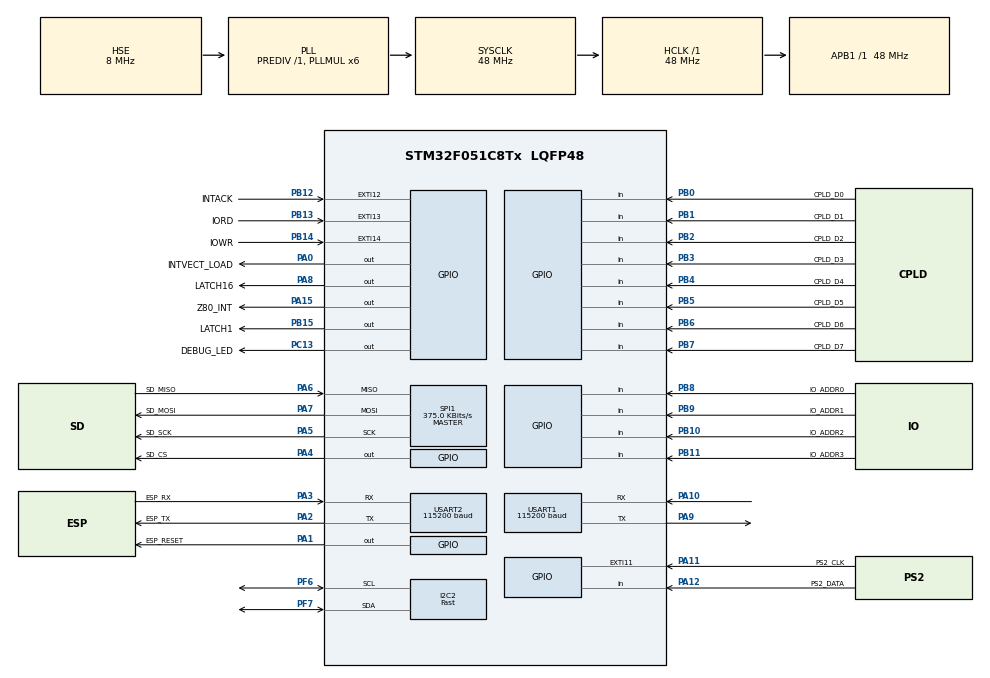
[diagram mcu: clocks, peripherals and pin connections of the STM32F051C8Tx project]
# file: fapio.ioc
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FATFS._CODE_PAGE=1
I2C2.I2C_Speed_Mode=I2C_Fast
I2C2.Timing=0x2010091A
Mcu.Family=STM32F0
Mcu.Name=STM32F051C8Tx
Mcu.Package=LQFP48
NVIC.EXTI4_15_IRQn=true\:0\:0\:false\:false\:true
NVIC.USART1_IRQn=true\:1\:0\:true\:false\:true
NVIC.USART2_IRQn=true\:2\:0\:true\:false\:true
PA0.GPIO_Label=INTVECT_LOAD
PA0.GPIO_ModeDefaultOutputPP=GPIO_MODE_OUTPUT_OD
PA0.PinState=GPIO_PIN_SET
PA0.Signal=GPIO_Output
PA1.GPIO_Label=ESP_RESET
PA1.GPIO_ModeDefaultOutputPP=GPIO_MODE_OUTPUT_OD
PA1.PinState=GPIO_PIN_SET
PA1.Signal=GPIO_Output
PA10.Mode=Asynchronous
PA10.Signal=USART1_RX
PA11.GPIO_Label=PS2_CLK
PA11.GPIO_ModeDefaultEXTI=GPIO_MODE_IT_FALLING
PA11.Signal=GPXTI11
PA12.GPIO_Label=PS2_DATA
PA12.Signal=GPIO_Input
PA13.Mode=Serial_Wire
PA13.Signal=SYS_SWDIO
PA14.Mode=Serial_Wire
PA14.Signal=SYS_SWCLK
PA15.GPIO_Label=Z80_INT
PA15.GPIO_PuPd=GPIO_NOPULL
PA15.PinState=GPIO_PIN_SET
PA15.Signal=GPIO_Output
PA2.GPIO_Label=ESP_TX
PA2.Mode=Asynchronous
PA2.Signal=USART2_TX
PA3.GPIO_Label=ESP_RX
PA3.Mode=Asynchronous
PA3.Signal=USART2_RX
PA4.GPIO_Label=SD_CS
PA4.GPIO_ModeDefaultOutputPP=GPIO_MODE_OUTPUT_OD
PA4.GPIO_PuPd=GPIO_NOPULL
PA4.PinState=GPIO_PIN_SET
PA4.Signal=GPIO_Output
PA5.GPIO_Label=SD_SCK
PA5.Mode=Full_Duplex_Master
PA5.Signal=SPI1_SCK
PA6.GPIO_Label=SD_MISO
PA6.Mode=Full_Duplex_Master
PA6.Signal=SPI1_MISO
PA7.GPIO_Label=SD_MOSI
PA7.Mode=Full_Duplex_Master
PA7.Signal=SPI1_MOSI
PA8.GPIO_Label=LATCH16
PA8.GPIO_ModeDefaultOutputPP=GPIO_MODE_OUTPUT_OD
PA8.PinState=GPIO_PIN_SET
PA8.Signal=GPIO_Output
PA9.Mode=Asynchronous
PA9.Signal=USART1_TX
PB0.GPIO_Label=CPLD_D0
PB0.Signal=GPIO_Input
PB1.GPIO_Label=CPLD_D1
PB1.Signal=GPIO_Input
PB10.GPIO_Label=IO_ADDR2
PB10.Signal=GPIO_Input
PB11.GPIO_Label=IO_ADDR3
PB11.Signal=GPIO_Input
PB12.GPIO_Label=INTACK
PB12.GPIO_ModeDefaultEXTI=GPIO_MODE_IT_FALLING
PB12.Signal=GPXTI12
PB13.GPIO_Label=IORD
PB13.GPIO_ModeDefaultEXTI=GPIO_MODE_IT_FALLING
PB13.Signal=GPXTI13
PB14.GPIO_Label=IOWR
PB14.GPIO_ModeDefaultEXTI=GPIO_MODE_IT_FALLING
PB14.Signal=GPXTI14
PB15.GPIO_Label=LATCH1
PB15.GPIO_ModeDefaultOutputPP=GPIO_MODE_OUTPUT_OD
PB15.PinState=GPIO_PIN_SET
PB15.Signal=GPIO_Output
PB2.GPIO_Label=CPLD_D2
PB2.Signal=GPIO_Input
PB3.GPIO_Label=CPLD_D3
PB3.Signal=GPIO_Input
PB4.GPIO_Label=CPLD_D4
PB4.Signal=GPIO_Input
PB5.GPIO_Label=CPLD_D5
PB5.Signal=GPIO_Input
PB6.GPIO_Label=CPLD_D6
PB6.Signal=GPIO_Input
PB7.GPIO_Label=CPLD_D7
PB7.Signal=GPIO_Input
PB8.GPIO_Label=IO_ADDR0
PB8.Signal=GPIO_Input
PB9.GPIO_Label=IO_ADDR1
PB9.Signal=GPIO_Input
PC13.GPIO_Label=DEBUG_LED
PC13.Signal=GPIO_Output
PC14-OSC32_IN.Mode=LSE-External-Oscillator
PC14-OSC32_IN.Signal=RCC_OSC32_IN
PC15-OSC32_OUT.Mode=LSE-External-Oscillator
PC15-OSC32_OUT.Signal=RCC_OSC32_OUT
PF0-OSC_IN.Mode=HSE-External-Oscillator
PF0-OSC_IN.Signal=RCC_OSC_IN
PF1-OSC_OUT.Mode=HSE-External-Oscillator
PF1-OSC_OUT.Signal=RCC_OSC_OUT
PF6.Mode=I2C
PF6.Signal=I2C2_SCL
PF7.Mode=I2C
PF7.Signal=I2C2_SDA
ProjectManager.HeapSize=0x200
ProjectManager.StackSize=0x400
ProjectManager.TargetToolchain=MDK-ARM V5
RCC.AHBFreq_Value=48000000
RCC.APB1Freq_Value=48000000
RCC.APB1TimFreq_Value=48000000
RCC.HCLKFreq_Value=48000000
RCC.HSIState=RCC_HSI_ON
RCC.PLLMUL=RCC_PLL_MUL6
RCC.PLLSourceVirtual=RCC_PLLSOURCE_HSE
RCC.RTCClockSelection=RCC_RTCCLKSOURCE_LSE
RCC.SYSCLKFreq_VALUE=48000000
RCC.SYSCLKSource=RCC_SYSCLKSOURCE_PLLCLK
RTC.Date=6
RTC.Format=RTC_FORMAT_BIN
RTC.Hours=11
RTC.Minutes=40
RTC.Month=RTC_MONTH_DECEMBER
RTC.WeekDay=RTC_WEEKDAY_TUESDAY
RTC.Year=16
SPI1.BaudRatePrescaler=SPI_BAUDRATEPRESCALER_128
SPI1.CalculateBaudRate=375.0 KBits/s
SPI1.DataSize=SPI_DATASIZE_8BIT
SPI1.Mode=SPI_MODE_MASTER
TIM2.Period=4294967295
TIM2.Prescaler=47
USART1.BaudRate=115200
USART2.BaudRate=115200
USART2.SwapParam=UART_ADVFEATURE_SWAP_DISABLE
VP_FATFS_VS_Generic.Mode=User_defined
VP_RTC_VS_RTC_Activate.Mode=RTC_Enabled
VP_RTC_VS_RTC_Calendar.Mode=RTC_Calendar
VP_TIM2_VS_ClockSourceINT.Mode=Internal
board=fapio

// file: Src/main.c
/**
  ******************************************************************************
  * File Name          : main.c
  * Description        : Main program body
  ******************************************************************************
  *
  * Copyright (c) 2017 STMicroelectronics International N.V.
  * All rights reserved.
  *
  * Redistribution and use in source and binary forms, with or without
  * modification, are permitted, provided that the following conditions are met:
  *
  * 1. Redistribution of source code must retain the above copyright notice,
  *    this list of conditions and the following disclaimer.
  * 2. Redistributions in binary form must reproduce the above copyright notice,
  *    this list of conditions and the following disclaimer in the documentation
  *    and/or other materials provided with the distribution.
  * 3. Neither the name of STMicroelectronics nor the names of other
  *    contributors to this software may be used to endorse or promote products
  *    derived from this software without specific written permission.
  * 4. This software, including modifications and/or derivative works of this
  *    software, must execute solely and exclusively on microcontroller or
  *    microprocessor devices manufactured by or for STMicroelectronics.
  * 5. Redistribution and use of this software other than as permitted under
  *    this license is void and will automatically terminate your rights under
  *    this license.
  *
  * THIS SOFTWARE IS PROVIDED BY STMICROELECTRONICS AND CONTRIBUTORS "AS IS"
  * AND ANY EXPRESS, IMPLIED OR STATUTORY WARRANTIES, INCLUDING, BUT NOT
  * LIMITED TO, THE IMPLIED WARRANTIES OF MERCHANTABILITY, FITNESS FOR A
  * PARTICULAR PURPOSE AND NON-INFRINGEMENT OF THIRD PARTY INTELLECTUAL PROPERTY
  * RIGHTS ARE DISCLAIMED TO THE FULLEST EXTENT PERMITTED BY LAW. IN NO EVENT
  * SHALL STMICROELECTRONICS OR CONTRIBUTORS BE LIABLE FOR ANY DIRECT, INDIRECT,
  * INCIDENTAL, SPECIAL, EXEMPLARY, OR CONSEQUENTIAL DAMAGES (INCLUDING, BUT NOT
  * LIMITED TO, PROCUREMENT OF SUBSTITUTE GOODS OR SERVICES; LOSS OF USE, DATA,
  * OR PROFITS; OR BUSINESS INTERRUPTION) HOWEVER CAUSED AND ON ANY THEORY OF
  * LIABILITY, WHETHER IN CONTRACT, STRICT LIABILITY, OR TORT (INCLUDING
  * NEGLIGENCE OR OTHERWISE) ARISING IN ANY WAY OUT OF THE USE OF THIS SOFTWARE,
  * EVEN IF ADVISED OF THE POSSIBILITY OF SUCH DAMAGE.
  *
  ******************************************************************************
  */
#include "main.h"
#include "stm32f0xx_hal.h"
#include "fatfs.h"

/* USER CODE BEGIN Includes */
#include <stdio.h>
#include <string.h>
#include <stdlib.h>
#include "delay_us.h"
#include "shared.h"
#include "eeprom.h"
#include "user_diskio.h"
#include "sd_util.h"
#include "helpers.h"
#include "ps2kb.h"

/* USER CODE END Includes */

I2C_HandleTypeDef hi2c2;

RTC_HandleTypeDef hrtc;

SPI_HandleTypeDef hspi1;

TIM_HandleTypeDef htim2;

UART_HandleTypeDef huart1;
UART_HandleTypeDef huart2;

/* USER CODE BEGIN PV */
/* Private variables ---------------------------------------------------------*/
FRESULT sd_fresult;
FATFS sd_fs;
FIL sd_file;

uint8_t debug_byte_buf[1];
uint8_t esp_byte_buf[1];
linear_buf debug_lb;
linear_buf esp_lb;
linear_buf z80_kbout_lb;

uint8_t esp_temp_buf[LB_SIZE];

volatile uint8_t vport_reg[16];
volatile int32_t vport_data;
volatile int32_t vport_addr;
volatile int32_t vport_raw;
/* USER CODE END PV */

void SystemClock_Config(void);
void Error_Handler(void);
static void MX_GPIO_Init(void);
static void MX_I2C2_Init(void);
static void MX_RTC_Init(void);
static void MX_SPI1_Init(void);
static void MX_USART1_UART_Init(void);
static void MX_USART2_UART_Init(void);
static void MX_TIM2_Init(void);

/* USER CODE BEGIN PFP */
/* Private function prototypes -----------------------------------------------*/

/* USER CODE END PFP */

/* USER CODE BEGIN 0 */
int fputc(int ch, FILE *f)
{
    HAL_UART_Transmit(&huart1, (unsigned char *)&ch, 1, 100);
    return ch;
}
/* USER CODE END 0 */

int main(void)
{

  /* MCU Configuration----------------------------------------------------------*/

  /* Reset of all peripherals, Initializes the Flash interface and the Systick. */
  HAL_Init();

  /* Configure the system clock */
  SystemClock_Config();

  /* Initialize all configured peripherals */
  MX_GPIO_Init();
  MX_I2C2_Init();
  MX_RTC_Init();
  MX_SPI1_Init();
  MX_USART1_UART_Init();
  MX_USART2_UART_Init();
  MX_FATFS_Init();
  MX_TIM2_Init();

  /* USER CODE BEGIN 2 */
  printf("\nmounting SD card...\n");
  int32_t mount_result = f_mount(&sd_fs, "", 1);
  printf("result: %d\n", mount_result);

  linear_buf_reset(&debug_lb);
  linear_buf_reset(&esp_lb);
  linear_buf_reset(&z80_kbout_lb);

  delay_us_init(&htim2);
  ps2_init();

  latch1_deactivate();
  latch16_deactivate();
  interrupt_deactivate();
  vect_load_deactivate();

  data_input();
  addr_input();

  HAL_GPIO_WritePin(ESP_RESET_GPIO_Port, ESP_RESET_Pin, LOW);
  HAL_Delay(100);
  HAL_GPIO_WritePin(ESP_RESET_GPIO_Port, ESP_RESET_Pin, HIGH);

  for (uint8_t i = 0; i < 16; ++i)
    preload16(i, 0);
  /* USER CODE END 2 */

  /* Infinite loop */
  while (1)
  {

  /* USER CODE BEGIN 3 */
    HAL_UART_Receive_IT(&huart1, debug_byte_buf, 1);
    HAL_UART_Receive_IT(&huart2, esp_byte_buf, 1);
    if(linear_buf_idle(&debug_lb))
    {
    	printf("debug_lb: %s\n", debug_lb.buf);
    	linear_buf_reset(&debug_lb);
    }

    if(linear_buf_idle(&esp_lb))
    {
    	// free up the main buffer for more incoming data
    	int32_t this_index = esp_lb.curr_index;
    	memset(esp_temp_buf, 0, LB_SIZE);
      strcpy(esp_temp_buf, esp_lb.buf);
      linear_buf_reset(&esp_lb);

      for (int i = 0; i < this_index; ++i)
      {
      	while(vport_reg[0])
      		;
      	delay_us(100);
	      preload16(2, esp_temp_buf[i]);
	      interrupt_activate(0x84);
      }
    }

    if(linear_buf_idle(&z80_kbout_lb))
    {
    	printf("z80kb: %s\n", z80_kbout_lb.buf);
    	HAL_UART_Transmit(&huart2, z80_kbout_lb.buf, z80_kbout_lb.curr_index, 100);
      linear_buf_reset(&z80_kbout_lb);
    }

    int32_t ps2_char = ps2_get_char();
    if(ps2_char != -1)
    {
      preload16(1, (uint8_t)ps2_char);
      interrupt_activate(0x82);
    }
  }
  /* USER CODE END 3 */

}

/** System Clock Configuration
*/
void SystemClock_Config(void)
{

  RCC_OscInitTypeDef RCC_OscInitStruct;
  RCC_ClkInitTypeDef RCC_ClkInitStruct;
  RCC_PeriphCLKInitTypeDef PeriphClkInit;

    /**Initializes the CPU, AHB and APB busses clocks
    */
  RCC_OscInitStruct.OscillatorType = RCC_OSCILLATORTYPE_HSE|RCC_OSCILLATORTYPE_LSE;
  RCC_OscInitStruct.HSEState = RCC_HSE_ON;
  RCC_OscInitStruct.LSEState = RCC_LSE_ON;
  RCC_OscInitStruct.HSIState = RCC_HSI_ON;
  RCC_OscInitStruct.PLL.PLLState = RCC_PLL_ON;
  RCC_OscInitStruct.PLL.PLLSource = RCC_PLLSOURCE_HSE;
  RCC_OscInitStruct.PLL.PLLMUL = RCC_PLL_MUL6;
  RCC_OscInitStruct.PLL.PREDIV = RCC_PREDIV_DIV1;
  if (HAL_RCC_OscConfig(&RCC_OscInitStruct) != HAL_OK)
  {
    Error_Handler();
  }

    /**Initializes the CPU, AHB and APB busses clocks
    */
  RCC_ClkInitStruct.ClockType = RCC_CLOCKTYPE_HCLK|RCC_CLOCKTYPE_SYSCLK
                              |RCC_CLOCKTYPE_PCLK1;
  RCC_ClkInitStruct.SYSCLKSource = RCC_SYSCLKSOURCE_PLLCLK;
  RCC_ClkInitStruct.AHBCLKDivider = RCC_SYSCLK_DIV1;
  RCC_ClkInitStruct.APB1CLKDivider = RCC_HCLK_DIV1;

  if (HAL_RCC_ClockConfig(&RCC_ClkInitStruct, FLASH_LATENCY_1) != HAL_OK)
  {
    Error_Handler();
  }

  PeriphClkInit.PeriphClockSelection = RCC_PERIPHCLK_USART1|RCC_PERIPHCLK_RTC;
  PeriphClkInit.Usart1ClockSelection = RCC_USART1CLKSOURCE_PCLK1;
  PeriphClkInit.RTCClockSelection = RCC_RTCCLKSOURCE_LSE;
  if (HAL_RCCEx_PeriphCLKConfig(&PeriphClkInit) != HAL_OK)
  {
    Error_Handler();
  }

    /**Configure the Systick interrupt time
    */
  HAL_SYSTICK_Config(HAL_RCC_GetHCLKFreq()/1000);

    /**Configure the Systick
    */
  HAL_SYSTICK_CLKSourceConfig(SYSTICK_CLKSOURCE_HCLK);

  /* SysTick_IRQn interrupt configuration */
  HAL_NVIC_SetPriority(SysTick_IRQn, 0, 0);
}

/* I2C2 init function */
static void MX_I2C2_Init(void)
{

  hi2c2.Instance = I2C2;
  hi2c2.Init.Timing = 0x2010091A;
  hi2c2.Init.OwnAddress1 = 0;
  hi2c2.Init.AddressingMode = I2C_ADDRESSINGMODE_7BIT;
  hi2c2.Init.DualAddressMode = I2C_DUALADDRESS_DISABLE;
  hi2c2.Init.OwnAddress2 = 0;
  hi2c2.Init.OwnAddress2Masks = I2C_OA2_NOMASK;
  hi2c2.Init.GeneralCallMode = I2C_GENERALCALL_DISABLE;
  hi2c2.Init.NoStretchMode = I2C_NOSTRETCH_DISABLE;
  if (HAL_I2C_Init(&hi2c2) != HAL_OK)
  {
    Error_Handler();
  }

    /**Configure Analogue filter
    */
  if (HAL_I2CEx_ConfigAnalogFilter(&hi2c2, I2C_ANALOGFILTER_ENABLE) != HAL_OK)
  {
    Error_Handler();
  }

}

/* RTC init function */
static void MX_RTC_Init(void)
{

  RTC_TimeTypeDef sTime;
  RTC_DateTypeDef sDate;

    /**Initialize RTC Only
    */
  hrtc.Instance = RTC;
  hrtc.Init.HourFormat = RTC_HOURFORMAT_24;
  hrtc.Init.AsynchPrediv = 127;
  hrtc.Init.SynchPrediv = 255;
  hrtc.Init.OutPut = RTC_OUTPUT_DISABLE;
  hrtc.Init.OutPutPolarity = RTC_OUTPUT_POLARITY_HIGH;
  hrtc.Init.OutPutType = RTC_OUTPUT_TYPE_OPENDRAIN;
  if (HAL_RTC_Init(&hrtc) != HAL_OK)
  {
    Error_Handler();
  }

    /**Initialize RTC and set the Time and Date
    */
  sTime.Hours = 11;
  sTime.Minutes = 40;
  sTime.Seconds = 0;
  sTime.DayLightSaving = RTC_DAYLIGHTSAVING_NONE;
  sTime.StoreOperation = RTC_STOREOPERATION_RESET;
  if (HAL_RTC_SetTime(&hrtc, &sTime, RTC_FORMAT_BIN) != HAL_OK)
  {
    Error_Handler();
  }

  sDate.WeekDay = RTC_WEEKDAY_TUESDAY;
  sDate.Month = RTC_MONTH_DECEMBER;
  sDate.Date = 6;
  sDate.Year = 16;

  if (HAL_RTC_SetDate(&hrtc, &sDate, RTC_FORMAT_BIN) != HAL_OK)
  {
    Error_Handler();
  }

}

/* SPI1 init function */
static void MX_SPI1_Init(void)
{

  hspi1.Instance = SPI1;
  hspi1.Init.Mode = SPI_MODE_MASTER;
  hspi1.Init.Direction = SPI_DIRECTION_2LINES;
  hspi1.Init.DataSize = SPI_DATASIZE_8BIT;
  hspi1.Init.CLKPolarity = SPI_POLARITY_LOW;
  hspi1.Init.CLKPhase = SPI_PHASE_1EDGE;
  hspi1.Init.NSS = SPI_NSS_SOFT;
  hspi1.Init.BaudRatePrescaler = SPI_BAUDRATEPRESCALER_128;
  hspi1.Init.FirstBit = SPI_FIRSTBIT_MSB;
  hspi1.Init.TIMode = SPI_TIMODE_DISABLE;
  hspi1.Init.CRCCalculation = SPI_CRCCALCULATION_DISABLE;
  hspi1.Init.CRCPolynomial = 7;
  hspi1.Init.CRCLength = SPI_CRC_LENGTH_DATASIZE;
  hspi1.Init.NSSPMode = SPI_NSS_PULSE_ENABLE;
  if (HAL_SPI_Init(&hspi1) != HAL_OK)
  {
    Error_Handler();
  }

}

/* TIM2 init function */
static void MX_TIM2_Init(void)
{

  TIM_ClockConfigTypeDef sClockSourceConfig;
  TIM_MasterConfigTypeDef sMasterConfig;

  htim2.Instance = TIM2;
  htim2.Init.Prescaler = 47;
  htim2.Init.CounterMode = TIM_COUNTERMODE_UP;
  htim2.Init.Period = 4294967295;
  htim2.Init.ClockDivision = TIM_CLOCKDIVISION_DIV1;
  htim2.Init.AutoReloadPreload = TIM_AUTORELOAD_PRELOAD_DISABLE;
  if (HAL_TIM_Base_Init(&htim2) != HAL_OK)
  {
    Error_Handler();
  }

  sClockSourceConfig.ClockSource = TIM_CLOCKSOURCE_INTERNAL;
  if (HAL_TIM_ConfigClockSource(&htim2, &sClockSourceConfig) != HAL_OK)
  {
    Error_Handler();
  }

  sMasterConfig.MasterOutputTrigger = TIM_TRGO_RESET;
  sMasterConfig.MasterSlaveMode = TIM_MASTERSLAVEMODE_DISABLE;
  if (HAL_TIMEx_MasterConfigSynchronization(&htim2, &sMasterConfig) != HAL_OK)
  {
    Error_Handler();
  }

}

/* USART1 init function */
static void MX_USART1_UART_Init(void)
{

  huart1.Instance = USART1;
  huart1.Init.BaudRate = 115200;
  huart1.Init.WordLength = UART_WORDLENGTH_8B;
  huart1.Init.StopBits = UART_STOPBITS_1;
  huart1.Init.Parity = UART_PARITY_NONE;
  huart1.Init.Mode = UART_MODE_TX_RX;
  huart1.Init.HwFlowCtl = UART_HWCONTROL_NONE;
  huart1.Init.OverSampling = UART_OVERSAMPLING_16;
  huart1.Init.OneBitSampling = UART_ONE_BIT_SAMPLE_DISABLE;
  huart1.AdvancedInit.AdvFeatureInit = UART_ADVFEATURE_NO_INIT;
  if (HAL_UART_Init(&huart1) != HAL_OK)
  {
    Error_Handler();
  }

}

/* USART2 init function */
static void MX_USART2_UART_Init(void)
{

  huart2.Instance = USART2;
  huart2.Init.BaudRate = 115200;
  huart2.Init.WordLength = UART_WORDLENGTH_8B;
  huart2.Init.StopBits = UART_STOPBITS_1;
  huart2.Init.Parity = UART_PARITY_NONE;
  huart2.Init.Mode = UART_MODE_TX_RX;
  huart2.Init.HwFlowCtl = UART_HWCONTROL_NONE;
  huart2.Init.OverSampling = UART_OVERSAMPLING_16;
  huart2.Init.OneBitSampling = UART_ONE_BIT_SAMPLE_DISABLE;
  huart2.AdvancedInit.AdvFeatureInit = UART_ADVFEATURE_NO_INIT;
  if (HAL_UART_Init(&huart2) != HAL_OK)
  {
    Error_Handler();
  }

}

/** Configure pins as
        * Analog
        * Input
        * Output
        * EVENT_OUT
        * EXTI
*/
static void MX_GPIO_Init(void)
{

  GPIO_InitTypeDef GPIO_InitStruct;

  /* GPIO Ports Clock Enable */
  __HAL_RCC_GPIOC_CLK_ENABLE();
  __HAL_RCC_GPIOF_CLK_ENABLE();
  __HAL_RCC_GPIOA_CLK_ENABLE();
  __HAL_RCC_GPIOB_CLK_ENABLE();

  /*Configure GPIO pin Output Level */
  HAL_GPIO_WritePin(DEBUG_LED_GPIO_Port, DEBUG_LED_Pin, GPIO_PIN_RESET);

  /*Configure GPIO pin Output Level */
  HAL_GPIO_WritePin(GPIOA, INTVECT_LOAD_Pin|ESP_RESET_Pin|SD_CS_Pin|LATCH16_Pin
                          |Z80_INT_Pin, GPIO_PIN_SET);

  /*Configure GPIO pin Output Level */
  HAL_GPIO_WritePin(LATCH1_GPIO_Port, LATCH1_Pin, GPIO_PIN_SET);

  /*Configure GPIO pin : DEBUG_LED_Pin */
  GPIO_InitStruct.Pin = DEBUG_LED_Pin;
  GPIO_InitStruct.Mode = GPIO_MODE_OUTPUT_PP;
  GPIO_InitStruct.Pull = GPIO_NOPULL;
  GPIO_InitStruct.Speed = GPIO_SPEED_FREQ_LOW;
  HAL_GPIO_Init(DEBUG_LED_GPIO_Port, &GPIO_InitStruct);

  /*Configure GPIO pins : INTVECT_LOAD_Pin ESP_RESET_Pin SD_CS_Pin LATCH16_Pin */
  GPIO_InitStruct.Pin = INTVECT_LOAD_Pin|ESP_RESET_Pin|SD_CS_Pin|LATCH16_Pin;
  GPIO_InitStruct.Mode = GPIO_MODE_OUTPUT_OD;
  GPIO_InitStruct.Pull = GPIO_NOPULL;
  GPIO_InitStruct.Speed = GPIO_SPEED_FREQ_LOW;
  HAL_GPIO_Init(GPIOA, &GPIO_InitStruct);

  /*Configure GPIO pins : CPLD_D0_Pin CPLD_D1_Pin CPLD_D2_Pin IO_ADDR2_Pin
                           IO_ADDR3_Pin CPLD_D3_Pin CPLD_D4_Pin CPLD_D5_Pin
                           CPLD_D6_Pin CPLD_D7_Pin IO_ADDR0_Pin IO_ADDR1_Pin */
  GPIO_InitStruct.Pin = CPLD_D0_Pin|CPLD_D1_Pin|CPLD_D2_Pin|IO_ADDR2_Pin
                          |IO_ADDR3_Pin|CPLD_D3_Pin|CPLD_D4_Pin|CPLD_D5_Pin
                          |CPLD_D6_Pin|CPLD_D7_Pin|IO_ADDR0_Pin|IO_ADDR1_Pin;
  GPIO_InitStruct.Mode = GPIO_MODE_INPUT;
  GPIO_InitStruct.Pull = GPIO_NOPULL;
  HAL_GPIO_Init(GPIOB, &GPIO_InitStruct);

  /*Configure GPIO pins : INTACK_Pin IORD_Pin IOWR_Pin */
  GPIO_InitStruct.Pin = INTACK_Pin|IORD_Pin|IOWR_Pin;
  GPIO_InitStruct.Mode = GPIO_MODE_IT_FALLING;
  GPIO_InitStruct.Pull = GPIO_NOPULL;
  HAL_GPIO_Init(GPIOB, &GPIO_InitStruct);

  /*Configure GPIO pin : LATCH1_Pin */
  GPIO_InitStruct.Pin = LATCH1_Pin;
  GPIO_InitStruct.Mode = GPIO_MODE_OUTPUT_OD;
  GPIO_InitStruct.Pull = GPIO_NOPULL;
  GPIO_InitStruct.Speed = GPIO_SPEED_FREQ_LOW;
  HAL_GPIO_Init(LATCH1_GPIO_Port, &GPIO_InitStruct);

  /*Configure GPIO pin : PS2_CLK_Pin */
  GPIO_InitStruct.Pin = PS2_CLK_Pin;
  GPIO_InitStruct.Mode = GPIO_MODE_IT_FALLING;
  GPIO_InitStruct.Pull = GPIO_NOPULL;
  HAL_GPIO_Init(PS2_CLK_GPIO_Port, &GPIO_InitStruct);

  /*Configure GPIO pin : PS2_DATA_Pin */
  GPIO_InitStruct.Pin = PS2_DATA_Pin;
  GPIO_InitStruct.Mode = GPIO_MODE_INPUT;
  GPIO_InitStruct.Pull = GPIO_NOPULL;
  HAL_GPIO_Init(PS2_DATA_GPIO_Port, &GPIO_InitStruct);

  /*Configure GPIO pin : Z80_INT_Pin */
  GPIO_InitStruct.Pin = Z80_INT_Pin;
  GPIO_InitStruct.Mode = GPIO_MODE_OUTPUT_PP;
  GPIO_InitStruct.Pull = GPIO_NOPULL;
  GPIO_InitStruct.Speed = GPIO_SPEED_FREQ_LOW;
  HAL_GPIO_Init(Z80_INT_GPIO_Port, &GPIO_InitStruct);

  /* EXTI interrupt init*/
  HAL_NVIC_SetPriority(EXTI4_15_IRQn, 0, 0);
  HAL_NVIC_EnableIRQ(EXTI4_15_IRQn);

}

/* USER CODE BEGIN 4 */
void HAL_UART_RxCpltCallback(UART_HandleTypeDef *huart)
{
  HAL_GPIO_TogglePin(DEBUG_LED_GPIO_Port, DEBUG_LED_Pin);
  if(huart->Instance==USART1)
  {
      linear_buf_add(&debug_lb, debug_byte_buf[0]);
      HAL_UART_Receive_IT(&huart1, debug_byte_buf, 1);
  }
  if(huart->Instance==USART2)
  {
      linear_buf_add(&esp_lb, esp_byte_buf[0]);
      HAL_UART_Receive_IT(&huart2, esp_byte_buf, 1);
  }
}

void HAL_UART_ErrorCallback(UART_HandleTypeDef *huart)
{
  if(huart->Instance==USART1)
  {
      HAL_UART_Receive_IT(&huart1, debug_byte_buf, 1);
      linear_buf_reset(&debug_lb);
  }
  if(huart->Instance==USART2)
  {
      HAL_UART_Receive_IT(&huart2, esp_byte_buf, 1);
      linear_buf_reset(&esp_lb);
  }
}

void HAL_GPIO_EXTI_Callback(uint16_t GPIO_Pin)
{
  if(GPIO_Pin == PS2_CLK_Pin)
  {
    ps2_readbit(HAL_GPIO_ReadPin(PS2_DATA_GPIO_Port, PS2_DATA_Pin));
  }

  if(GPIO_Pin == IOWR_Pin)
  {
    data_input();
    addr_input();
    latch1_activate();
    vport_raw = CPLD_DATA_PORT->IDR;
    vport_addr = (uint8_t)((vport_raw & 0xf00) >> 8);
    vport_data = (uint8_t)(vport_raw & 0xff);
    vport_reg[vport_addr] = vport_data;
    latch1_deactivate();

    if(vport_addr == 2)
    	linear_buf_add(&z80_kbout_lb, vport_data);
  }

  if(GPIO_Pin == INTACK_Pin)
    interrupt_deactivate();

  if(GPIO_Pin == IORD_Pin)
  {
    // printf("IORD!\n");
  }
}

/* USER CODE END 4 */

void Error_Handler(void)
{
  while(1)
  {
  }
}

/************************ (C) COPYRIGHT STMicroelectronics *****END OF FILE****/
